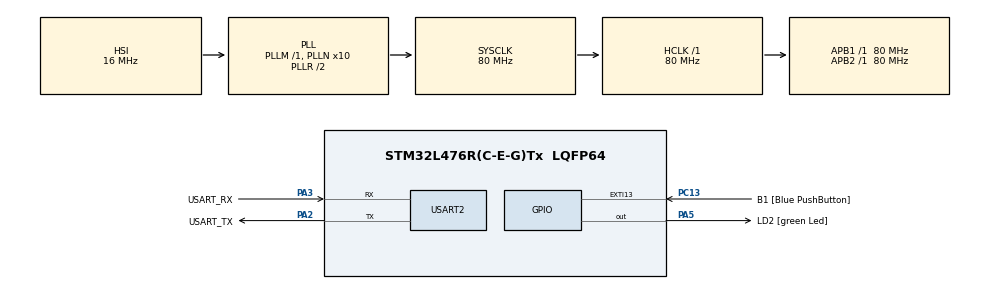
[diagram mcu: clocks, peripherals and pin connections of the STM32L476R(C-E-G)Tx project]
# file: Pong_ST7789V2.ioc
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Mcu.Family=STM32L4
Mcu.Name=STM32L476R(C-E-G)Tx
Mcu.Package=LQFP64
NVIC.PriorityGroup=NVIC_PRIORITYGROUP_4
PA13\ (JTMS-SWDIO).GPIO_Label=TMS
PA13\ (JTMS-SWDIO).Mode=Serial_Wire
PA13\ (JTMS-SWDIO).Signal=SYS_JTMS-SWDIO
PA14\ (JTCK-SWCLK).GPIO_Label=TCK
PA14\ (JTCK-SWCLK).Mode=Serial_Wire
PA14\ (JTCK-SWCLK).Signal=SYS_JTCK-SWCLK
PA2.GPIO_Label=USART_TX
PA2.GPIO_Mode=GPIO_MODE_AF_PP
PA2.GPIO_PuPd=GPIO_NOPULL
PA2.GPIO_Speed=GPIO_SPEED_FREQ_VERY_HIGH
PA2.Mode=Asynchronous
PA2.Signal=USART2_TX
PA3.GPIO_Label=USART_RX
PA3.GPIO_Mode=GPIO_MODE_AF_PP
PA3.GPIO_PuPd=GPIO_NOPULL
PA3.GPIO_Speed=GPIO_SPEED_FREQ_VERY_HIGH
PA3.Mode=Asynchronous
PA3.Signal=USART2_RX
PA5.GPIO_Label=LD2 [green Led]
PA5.GPIO_ModeDefaultOutputPP=GPIO_MODE_OUTPUT_PP
PA5.GPIO_PuPd=GPIO_NOPULL
PA5.GPIO_Speed=GPIO_SPEED_FREQ_LOW
PA5.Signal=GPIO_Output
PB3\ (JTDO-TRACESWO).GPIO_Label=SWO
PB3\ (JTDO-TRACESWO).Signal=SYS_JTDO-SWO
PC13.GPIO_Label=B1 [Blue PushButton]
PC13.GPIO_ModeDefaultEXTI=GPIO_MODE_IT_FALLING
PC13.GPIO_PuPd=GPIO_NOPULL
PC13.Signal=GPXTI13
PC14-OSC32_IN\ (PC14).Mode=LSE-External-Oscillator
PC14-OSC32_IN\ (PC14).Signal=RCC_OSC32_IN
PC15-OSC32_OUT\ (PC15).Mode=LSE-External-Oscillator
PC15-OSC32_OUT\ (PC15).Signal=RCC_OSC32_OUT
PH0-OSC_IN\ (PH0).Signal=RCC_OSC_IN
PH1-OSC_OUT\ (PH1).Signal=RCC_OSC_OUT
ProjectManager.HeapSize=0x200
ProjectManager.StackSize=0x400
ProjectManager.TargetToolchain=CMake
RCC.ADCFreq_Value=64000000
RCC.AHBFreq_Value=80000000
RCC.APB1Freq_Value=80000000
RCC.APB1TimFreq_Value=80000000
RCC.APB2Freq_Value=80000000
RCC.APB2TimFreq_Value=80000000
RCC.CortexFreq_Value=80000000
RCC.HCLKFreq_Value=80000000
RCC.HSE_VALUE=8000000
RCC.HSI_VALUE=16000000
RCC.MSI_VALUE=4000000
RCC.PLLN=10
RCC.PLLSourceVirtual=RCC_PLLSOURCE_HSI
RCC.PREFETCH_ENABLE=1
RCC.SYSCLKFreq_VALUE=80000000
RCC.SYSCLKSource=RCC_SYSCLKSOURCE_PLLCLK
RCC.USBFreq_Value=64000000
RCC.VCOOutputFreq_Value=160000000
USART2.VirtualMode-Asynchronous=VM_ASYNC
board=NUCLEO-L476RG

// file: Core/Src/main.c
/* USER CODE BEGIN Header */
/**
  ******************************************************************************
  * @file           : main.c
  * @brief          : Main program body
  ******************************************************************************
  * @attention
  *
  * Copyright (c) 2025 STMicroelectronics.
  * All rights reserved.
  *
  * This software is licensed under terms that can be found in the LICENSE file
  * in the root directory of this software component.
  * If no LICENSE file comes with this software, it is provided AS-IS.
  *
  ******************************************************************************
  */
/* USER CODE END Header */
#include "main.h"
#include "usart.h"
#include "gpio.h"

/* USER CODE BEGIN Includes */
#include "LCD.h"
#include "pong.h"
/* USER CODE END Includes */

void SystemClock_Config(void);

int main(void)
{

  /* MCU Configuration--------------------------------------------------------*/

  /* Reset of all peripherals, Initializes the Flash interface and the Systick. */
  HAL_Init();

  /* Configure the system clock */
  SystemClock_Config();

  /* Initialize all configured peripherals */
  // MX_GPIO_Init();
  MX_USART2_UART_Init();
  /* USER CODE BEGIN 2 */
  ST7789V2_cfg_t cfg0 = {
    .setup_done = 0,
    .spi = SPI2,
    .RST = {.port = GPIOB, .pin = GPIO_PIN_2},
    .BL = {.port = GPIOB, .pin = GPIO_PIN_1},
    .DC = {.port = GPIOB, .pin = GPIO_PIN_11},
    .CS = {.port = GPIOB, .pin = GPIO_PIN_12},
    .MOSI = {.port = GPIOB, .pin = GPIO_PIN_15},
    .SCLK = {.port = GPIOB, .pin = GPIO_PIN_13},
    .dma = {.instance = DMA1, .channel = DMA1_Channel5}
  };

  LCD_init(&cfg0);
  /* USER CODE END 2 */

  /* Infinite loop */
  /* USER CODE BEGIN WHILE */
  // uint8_t i = 0;
  LCD_Fill_Buffer(1);
  LCD_Refresh(&cfg0);
  pong_run(&cfg0);
  while (pong_run(&cfg0))
  {
    ;
    /* USER CODE END WHILE */

  }
}

void SystemClock_Config(void)
{
  RCC_OscInitTypeDef RCC_OscInitStruct = {0};
  RCC_ClkInitTypeDef RCC_ClkInitStruct = {0};

  /** Configure the main internal regulator output voltage
  */
  if (HAL_PWREx_ControlVoltageScaling(PWR_REGULATOR_VOLTAGE_SCALE1) != HAL_OK)
  {
    Error_Handler();
  }

  /** Initializes the RCC Oscillators according to the specified parameters
  * in the RCC_OscInitTypeDef structure.
  */
  RCC_OscInitStruct.OscillatorType = RCC_OSCILLATORTYPE_HSI;
  RCC_OscInitStruct.HSIState = RCC_HSI_ON;
  RCC_OscInitStruct.HSICalibrationValue = RCC_HSICALIBRATION_DEFAULT;
  RCC_OscInitStruct.PLL.PLLState = RCC_PLL_ON;
  RCC_OscInitStruct.PLL.PLLSource = RCC_PLLSOURCE_HSI;
  RCC_OscInitStruct.PLL.PLLM = 1;
  RCC_OscInitStruct.PLL.PLLN = 10;
  RCC_OscInitStruct.PLL.PLLP = RCC_PLLP_DIV7;
  RCC_OscInitStruct.PLL.PLLQ = RCC_PLLQ_DIV2;
  RCC_OscInitStruct.PLL.PLLR = RCC_PLLR_DIV2;
  if (HAL_RCC_OscConfig(&RCC_OscInitStruct) != HAL_OK)
  {
    Error_Handler();
  }

  /** Initializes the CPU, AHB and APB buses clocks
  */
  RCC_ClkInitStruct.ClockType = RCC_CLOCKTYPE_HCLK|RCC_CLOCKTYPE_SYSCLK
                              |RCC_CLOCKTYPE_PCLK1|RCC_CLOCKTYPE_PCLK2;
  RCC_ClkInitStruct.SYSCLKSource = RCC_SYSCLKSOURCE_PLLCLK;
  RCC_ClkInitStruct.AHBCLKDivider = RCC_SYSCLK_DIV1;
  RCC_ClkInitStruct.APB1CLKDivider = RCC_HCLK_DIV1;
  RCC_ClkInitStruct.APB2CLKDivider = RCC_HCLK_DIV1;

  if (HAL_RCC_ClockConfig(&RCC_ClkInitStruct, FLASH_LATENCY_4) != HAL_OK)
  {
    Error_Handler();
  }
}

void Error_Handler(void)
{
  __disable_irq();
  while (1)
  {
  }
}
